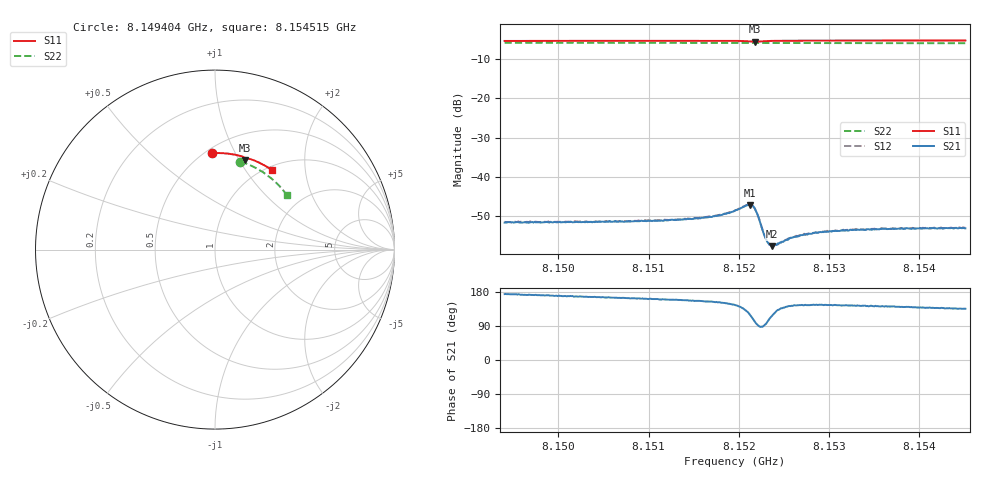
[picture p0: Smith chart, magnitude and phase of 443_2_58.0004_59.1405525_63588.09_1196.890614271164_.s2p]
#  HZ  S  RI  R  50.00
! Rohde & Schwarz Vector Network Analyzer
! Rohde-Schwarz,ZNB20-2Port,1311601062101988,3.16
! Created: UTC 3/21/2024, 1:10:08 AM
! freq[Hz]  re:S11  im:S11  re:S21  im:S21  re:S12  im:S12  re:S22  im:S22
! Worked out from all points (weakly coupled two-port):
!   401 points, 8.149404 GHz to 8.154515 GHz, reference 50 ohm
!   highest |S21| = -47.15 dB at 8.152125 GHz (marker M1); lowest = -57.7 dB at 8.152368 GHz (marker M2)
!   lowest |S11| = -5.6 dB at 8.152177 GHz (marker M3), VSWR 3.23, Z = 38.4 + j53.1 ohm
!   |S11| at or under -10 dB: nowhere
!   |S22| runs from -6.0 to -5.8 dB; largest |S21 - S12| = 0.00011
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8.1494039e9  -0.0168 0.5372  -0.0026 0.000278  -0.00264 0.000341  0.1415 0.4903
8.15026e9  0.0429 0.5372  -0.00258 0.000583  -0.00262 0.000619  0.1931 0.4712
8.151116e9  0.1023 0.5304  -0.00259 0.000956  -0.00263 0.000987  0.2423 0.4464
8.1516782e9  0.1418 0.5218  -0.00278 0.00135  -0.00278 0.00143  0.2727 0.4277
8.1518443e9  0.1538 0.5178  -0.00295 0.00167  -0.00292 0.00171  0.2814 0.4215
8.1519593e9  0.1627 0.5139  -0.00305 0.00213  -0.00303 0.00216  0.2872 0.4172
8.1520871e9  0.171 0.5057  -0.00273 0.00335  -0.00274 0.00339  0.2937 0.4122
8.1521254e9  0.1711 0.5021  -0.00215 0.00383  -0.00211 0.00389  0.2955 0.4106
8.152151e9  0.1703 0.4999  -0.00154 0.004  -0.00151 0.00405  0.2968 0.4097
8.1521765e9  0.1685 0.4995  -0.000855 0.00389  -0.000774 0.00393  0.2977 0.4088
8.1522149e9  0.1667 0.5013  -8.29e-05 0.00317  -1.47e-05 0.00316  0.2997 0.4074
8.1522787e9  0.1693 0.506  -2.09e-05 0.00187  1.4e-05 0.00187  0.303 0.4052
8.1523043e9  0.1715 0.5072  -0.000157 0.00159  -0.000153 0.00159  0.3043 0.4043
8.1523299e9  0.1739 0.5079  -0.000364 0.00138  -0.000334 0.00139  0.3057 0.4033
8.1523682e9  0.1773 0.5082  -0.000581 0.00117  -0.000579 0.0012  0.3076 0.4018
8.1524193e9  0.1818 0.5079  -0.000856 0.00105  -0.000844 0.00108  0.3101 0.3996
8.1525854e9  0.1949 0.5052  -0.00134 0.001  -0.00135 0.00103  0.3183 0.3931
8.1527004e9  0.2032 0.5025  -0.00149 0.00103  -0.0015 0.00107  0.3239 0.3882
8.1528154e9  0.211 0.4996  -0.00156 0.00108  -0.00158 0.00109  0.3292 0.3833
8.1531348e9  0.2321 0.491  -0.00167 0.00123  -0.00166 0.00126  0.3439 0.3694
8.1536714e9  0.2656 0.4745  -0.00168 0.00136  -0.00171 0.0014  0.3674 0.3451
8.1545147e9  0.3158 0.4443  -0.00156 0.00155  -0.00157 0.00161  0.4004 0.3037
